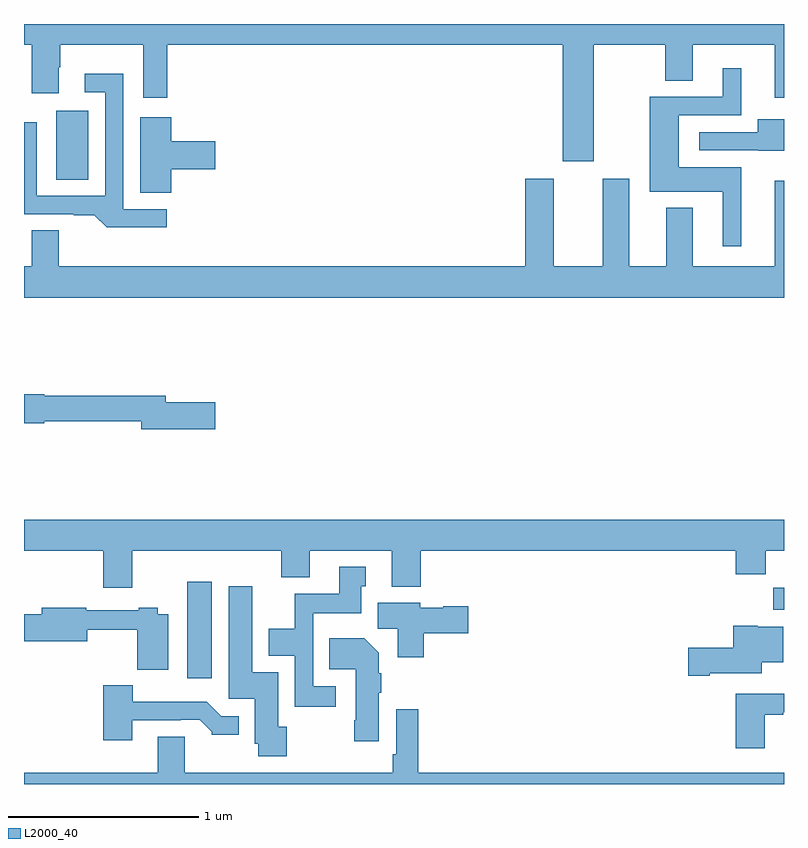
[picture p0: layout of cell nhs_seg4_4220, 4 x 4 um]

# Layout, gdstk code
import gdstk
lib = gdstk.Library(unit=1e-6, precision=1e-09)
def R(c, l, rs):  # rectangles x0, y0, x1, y1
    for r in rs: c.add(gdstk.rectangle(r[:2], r[2:], *l))
def P(c, l, *ps):  # polygons
    for p in ps: c.add(gdstk.Polygon(p, *l))
L2000_40 = (2000, 40)

nhs_seg4_4220 = lib.new_cell('nhs_seg4_4220')
R(nhs_seg4_4220, L2000_40, [(335.858,821.457,335.989,821.965), (338.944,821.816,339,821.934), (335.171,824.08,335.338,824.443)])
P(nhs_seg4_4220, L2000_40, [(337.999,824.792),(338.374,824.792),(338.374,824.602),(338.521,824.602),(338.521,824.792),(338.951,824.792),(338.951,824.511),(339,824.511),(339,824.9),(335,824.9),(335,824.792),(335.042,824.792),(335.042,824.535),(335.182,824.535),(335.182,824.672),(335.19,824.672),(335.19,824.792),(335.627,824.792),(335.627,824.511),(335.753,824.511),(335.753,824.792),(337.835,824.792),(337.835,824.178),(337.999,824.178)],
  [(338.776,824.146),(338.446,824.146),(338.446,824.421),(338.776,824.421),(338.776,824.668),(338.678,824.668),(338.678,824.517),(338.293,824.517),(338.293,824.018),(338.678,824.018),(338.678,823.731),(338.776,823.731)],
  [(335.752,823.926),(335.523,823.926),(335.523,824.638),(335.319,824.638),(335.319,824.541),(335.427,824.541),(335.427,823.995),(335.067,823.995),(335.067,824.383),(335,824.383),(335,823.899),(335.261,823.899),(335.261,823.894),(335.369,823.894),(335.435,823.829),(335.752,823.829)],
  [(335.774,824.135),(336.007,824.135),(336.007,824.282),(335.774,824.282),(335.774,824.41),(335.612,824.41),(335.612,824.011),(335.774,824.011)],
  [(339,824.398),(338.861,824.398),(338.861,824.331),(338.553,824.331),(338.553,824.235),(338.865,824.235),(338.865,824.234),(339,824.234)],
  [(339,824.074),(338.951,824.074),(338.951,823.624),(338.521,823.624),(338.521,823.933),(338.381,823.933),(338.381,823.624),(338.185,823.624),(338.185,824.086),(338.045,824.086),(338.045,823.624),(337.789,823.624),(337.789,824.086),(337.637,824.086),(337.637,823.624),(335.182,823.624),(335.182,823.814),(335.042,823.814),(335.042,823.624),(335,823.624),(335,823.46),(339,823.46)],
  [(336.007,822.908),(335.746,822.908),(335.746,822.944),(335.106,822.944),(335.106,822.952),(335,822.952),(335,822.8),(335.106,822.8),(335.106,822.808),(335.618,822.808),(335.618,822.766),(336.007,822.766)],
  [(335.569,822.128),(336.353,822.128),(336.353,821.987),(336.505,821.987),(336.505,822.128),(336.935,822.128),(336.935,821.939),(337.088,821.939),(337.088,822.128),(338.747,822.128),(338.747,822.004),(338.903,822.004),(338.903,822.128),(339,822.128),(339,822.292),(335,822.292),(335,822.128),(335.417,822.128),(335.417,821.934),(335.569,821.934)],
  [(336.64,821.415),(336.522,821.415),(336.522,821.798),(336.775,821.798),(336.775,821.94),(336.799,821.94),(336.799,822.043),(336.659,822.043),(336.659,821.902),(336.424,821.902),(336.424,821.716),(336.287,821.716),(336.287,821.576),(336.426,821.576),(336.426,821.307),(336.64,821.307)],
  [(336.384,821.202),(336.337,821.202),(336.337,821.488),(336.202,821.488),(336.202,821.941),(336.077,821.941),(336.077,821.349),(336.215,821.349),(336.215,821.112),(336.232,821.112),(336.232,821.046),(336.384,821.046)],
  [(337.103,821.693),(337.339,821.693),(337.339,821.835),(337.206,821.835),(337.206,821.827),(337.086,821.827),(337.086,821.854),(336.863,821.854),(336.863,821.716),(336.968,821.716),(336.968,821.568),(337.103,821.568)],
  [(335.758,821.794),(335.703,821.794),(335.703,821.827),(335.603,821.827),(335.603,821.814),(335.328,821.814),(335.328,821.827),(335.093,821.827),(335.093,821.793),(335,821.793),(335,821.651),(335.332,821.651),(335.332,821.713),(335.596,821.713),(335.596,821.501),(335.758,821.501)],
  [(338.608,821.483),(338.884,821.483),(338.884,821.54),(338.995,821.54),(338.995,821.728),(338.862,821.728),(338.862,821.734),(338.732,821.734),(338.732,821.618),(338.496,821.618),(338.496,821.471),(338.608,821.471)],
  [(336.868,821.38),(336.881,821.38),(336.881,821.483),(336.868,821.483),(336.868,821.59),(336.79,821.668),(336.607,821.668),(336.607,821.504),(336.746,821.504),(336.746,821.236),(336.739,821.236),(336.739,821.124),(336.868,821.124)],
  [(335.569,821.235),(335.825,821.235),(335.825,821.238),(335.924,821.238),(335.988,821.174),(335.988,821.159),(336.13,821.159),(336.13,821.256),(336.039,821.256),(335.963,821.332),(335.572,821.332),(335.572,821.419),(335.417,821.419),(335.417,821.13),(335.569,821.13)],
  [(338.899,821.265),(338.995,821.265),(338.995,821.277),(339,821.277),(339,821.374),(338.747,821.374),(338.747,821.088),(338.899,821.088)],
  [(339,820.96),(337.076,820.96),(337.076,821.293),(336.96,821.293),(336.96,821.056),(336.94,821.056),(336.94,820.96),(335.845,820.96),(335.845,821.15),(335.705,821.15),(335.705,820.96),(335,820.96),(335,820.9),(339,820.9)])

lib.write_gds('nhs_seg4_4220.gds')
